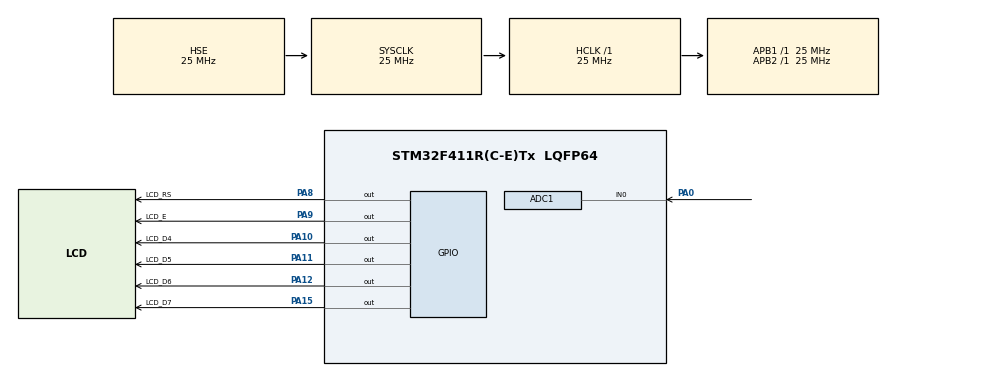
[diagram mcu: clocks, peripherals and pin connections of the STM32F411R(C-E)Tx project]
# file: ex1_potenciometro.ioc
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ADC1.Channel-0\#ChannelRegularConversion=ADC_CHANNEL_0
ADC1.NbrOfConversionFlag=1
ADC1.Rank-0\#ChannelRegularConversion=1
ADC1.SamplingTime-0\#ChannelRegularConversion=ADC_SAMPLETIME_56CYCLES
ADC1.master=1
Mcu.Family=STM32F4
Mcu.Name=STM32F411R(C-E)Tx
Mcu.Package=LQFP64
NVIC.ADC_IRQn=true\:0\:0\:false\:false\:true\:true\:true\:true
NVIC.PriorityGroup=NVIC_PRIORITYGROUP_4
PA0-WKUP.Signal=ADCx_IN0
PA10.GPIO_Label=LCD_D4
PA10.GPIO_ModeDefaultOutputPP=GPIO_MODE_OUTPUT_PP
PA10.GPIO_Speed=GPIO_SPEED_FREQ_VERY_HIGH
PA10.PinState=GPIO_PIN_RESET
PA10.Signal=GPIO_Output
PA11.GPIO_Label=LCD_D5
PA11.GPIO_ModeDefaultOutputPP=GPIO_MODE_OUTPUT_PP
PA11.GPIO_Speed=GPIO_SPEED_FREQ_VERY_HIGH
PA11.PinState=GPIO_PIN_RESET
PA11.Signal=GPIO_Output
PA12.GPIO_Label=LCD_D6
PA12.GPIO_ModeDefaultOutputPP=GPIO_MODE_OUTPUT_PP
PA12.GPIO_Speed=GPIO_SPEED_FREQ_VERY_HIGH
PA12.PinState=GPIO_PIN_RESET
PA12.Signal=GPIO_Output
PA13.Mode=Serial_Wire
PA13.Signal=SYS_JTMS-SWDIO
PA14.Mode=Serial_Wire
PA14.Signal=SYS_JTCK-SWCLK
PA15.GPIO_Label=LCD_D7
PA15.GPIO_ModeDefaultOutputPP=GPIO_MODE_OUTPUT_PP
PA15.GPIO_Speed=GPIO_SPEED_FREQ_VERY_HIGH
PA15.PinState=GPIO_PIN_RESET
PA15.Signal=GPIO_Output
PA8.GPIO_Label=LCD_RS
PA8.GPIO_ModeDefaultOutputPP=GPIO_MODE_OUTPUT_PP
PA8.GPIO_Speed=GPIO_SPEED_FREQ_VERY_HIGH
PA8.PinState=GPIO_PIN_RESET
PA8.Signal=GPIO_Output
PA9.GPIO_Label=LCD_E
PA9.GPIO_ModeDefaultOutputPP=GPIO_MODE_OUTPUT_PP
PA9.GPIO_Speed=GPIO_SPEED_FREQ_VERY_HIGH
PA9.PinState=GPIO_PIN_RESET
PA9.Signal=GPIO_Output
PH0\ -\ OSC_IN.Mode=HSE-External-Oscillator
PH0\ -\ OSC_IN.Signal=RCC_OSC_IN
PH1\ -\ OSC_OUT.Mode=HSE-External-Oscillator
PH1\ -\ OSC_OUT.Signal=RCC_OSC_OUT
ProjectManager.HeapSize=0x200
ProjectManager.StackSize=0x400
ProjectManager.TargetToolchain=STM32CubeIDE
RCC.AHBFreq_Value=25000000
RCC.APB1Freq_Value=25000000
RCC.APB1TimFreq_Value=25000000
RCC.APB2Freq_Value=25000000
RCC.APB2TimFreq_Value=25000000
RCC.CortexFreq_Value=25000000
RCC.HCLKFreq_Value=25000000
RCC.HSE_VALUE=25000000
RCC.HSI_VALUE=16000000
RCC.LSE_VALUE=32768
RCC.SYSCLKFreq_VALUE=25000000
RCC.SYSCLKSource=RCC_SYSCLKSOURCE_HSE
RCC.VCOOutputFreq_Value=192000000
SH.ADCx_IN0.0=ADC1_IN0,IN0
board=custom

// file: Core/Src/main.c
/* USER CODE BEGIN Header */
/**
  ******************************************************************************
  * @file           : main.c
  * @brief          : Main program body
  ******************************************************************************
  * @attention
  *
  * Copyright (c) 2025 STMicroelectronics.
  * All rights reserved.
  *
  * This software is licensed under terms that can be found in the LICENSE file
  * in the root directory of this software component.
  * If no LICENSE file comes with this software, it is provided AS-IS.
  *
  ******************************************************************************
  */
/* USER CODE END Header */
#include "main.h"
#include "adc.h"
#include "gpio.h"

/* USER CODE BEGIN Includes */
#include <stdint.h>
#include <stdio.h>
#include "lcdDisplay.h"

/* USER CODE END Includes */

/* USER CODE BEGIN PD */
#define VREF_P_VOLTAGE		3.3
#define ADC_RESOLUTION		4095
/* USER CODE END PD */

/* USER CODE BEGIN PV */
static lcd_t Lcd;
uint8_t adc_Flag;
uint32_t pot1Value;

/* USER CODE END PV */

void SystemClock_Config(void);

/* USER CODE BEGIN 0 */
void HAL_ADC_ConvCpltCallback(ADC_HandleTypeDef * hadc){
	adc_Flag = 1;
	pot1Value = HAL_ADC_GetValue(hadc);

}

void _lcd_init(){
	Lcd.columns = 20;
	Lcd.rows = 4;
	Lcd.gpios[LCD_RS].GPIO = LCD_RS_GPIO_Port;
	Lcd.gpios[LCD_RS].pin = LCD_RS_Pin;
	Lcd.gpios[LCD_E].GPIO = LCD_E_GPIO_Port;
	Lcd.gpios[LCD_E].pin = LCD_E_Pin;
	Lcd.gpios[LCD_D4].GPIO = LCD_D4_GPIO_Port;
	Lcd.gpios[LCD_D4].pin = LCD_D4_Pin;
	Lcd.gpios[LCD_D5].GPIO = LCD_D5_GPIO_Port;
	Lcd.gpios[LCD_D5].pin = LCD_D5_Pin;
	Lcd.gpios[LCD_D6].GPIO = LCD_D6_GPIO_Port;
	Lcd.gpios[LCD_D6].pin = LCD_D6_Pin;
	Lcd.gpios[LCD_D7].GPIO = LCD_D7_GPIO_Port;
	Lcd.gpios[LCD_D7].pin = LCD_D7_Pin;

	lcd_init(&Lcd);

	lcd_put_cur(&Lcd, 0, 0);
	lcd_send_string(&Lcd, "leitura");
}
/* USER CODE END 0 */

int main(void)
{

  /* USER CODE BEGIN 1 */
	float voltage;
	char text[21];
  /* USER CODE END 1 */

  /* MCU Configuration--------------------------------------------------------*/

  /* Reset of all peripherals, Initializes the Flash interface and the Systick. */
  HAL_Init();

  /* Configure the system clock */
  SystemClock_Config();

  /* Initialize all configured peripherals */
  MX_GPIO_Init();
  MX_ADC1_Init();
  /* USER CODE BEGIN 2 */
  HAL_Delay(200);
  _lcd_init();
  /* USER CODE END 2 */

  /* Infinite loop */
  /* USER CODE BEGIN WHILE */
  adc_Flag = 0;
  HAL_ADC_Start_IT(&hadc1);
  while (1)
  {
	  if(adc_Flag){
		  adc_Flag = 0;

		  sprintf(text, ">> Pot 0 (raw): %ld   ", pot1Value);
		  lcd_put_cur(&Lcd, 2, 0);
		  lcd_send_string(&Lcd, text);

		  voltage = VREF_P_VOLTAGE*(pot1Value /ADC_RESOLUTION);
		  sprintf(text, ">> Port 0(mv): %.2f", voltage);
		  lcd_put_cur(&Lcd, 3, 0);
		  lcd_send_string(&Lcd, text);

		  HAL_ADC_Start_IT(&hadc1);
	  }

//	  HAL_Delay(100);
    /* USER CODE END WHILE */

  }
}

void SystemClock_Config(void)
{
  RCC_OscInitTypeDef RCC_OscInitStruct = {0};
  RCC_ClkInitTypeDef RCC_ClkInitStruct = {0};

  /** Configure the main internal regulator output voltage
  */
  __HAL_RCC_PWR_CLK_ENABLE();
  __HAL_PWR_VOLTAGESCALING_CONFIG(PWR_REGULATOR_VOLTAGE_SCALE1);

  /** Initializes the RCC Oscillators according to the specified parameters
  * in the RCC_OscInitTypeDef structure.
  */
  RCC_OscInitStruct.OscillatorType = RCC_OSCILLATORTYPE_HSE;
  RCC_OscInitStruct.HSEState = RCC_HSE_ON;
  RCC_OscInitStruct.PLL.PLLState = RCC_PLL_NONE;
  if (HAL_RCC_OscConfig(&RCC_OscInitStruct) != HAL_OK)
  {
    Error_Handler();
  }

  /** Initializes the CPU, AHB and APB buses clocks
  */
  RCC_ClkInitStruct.ClockType = RCC_CLOCKTYPE_HCLK|RCC_CLOCKTYPE_SYSCLK
                              |RCC_CLOCKTYPE_PCLK1|RCC_CLOCKTYPE_PCLK2;
  RCC_ClkInitStruct.SYSCLKSource = RCC_SYSCLKSOURCE_HSE;
  RCC_ClkInitStruct.AHBCLKDivider = RCC_SYSCLK_DIV1;
  RCC_ClkInitStruct.APB1CLKDivider = RCC_HCLK_DIV1;
  RCC_ClkInitStruct.APB2CLKDivider = RCC_HCLK_DIV1;

  if (HAL_RCC_ClockConfig(&RCC_ClkInitStruct, FLASH_LATENCY_0) != HAL_OK)
  {
    Error_Handler();
  }
}

void Error_Handler(void)
{
  __disable_irq();
  while (1)
  {
  }
}
